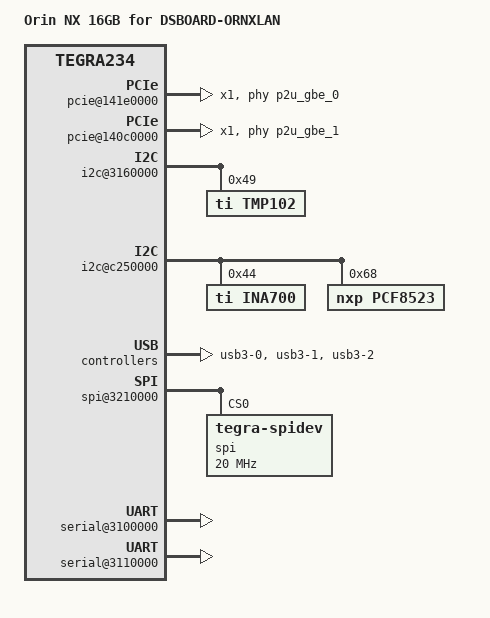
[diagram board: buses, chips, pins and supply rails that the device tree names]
/*
 * Top level DTS file for CVM:P3767-0000 and CVB:DSBOARD-ORNXLAN.
 *
 * Copyright (c) 2021-2022, NVIDIA CORPORATION.  All rights reserved.
 *
 * This program is free software; you can redistribute it and/or modify
 * it under the terms of the GNU General Public License as published by
 * the Free Software Foundation; version 2 of the License.
 *
 * This program is distributed in the hope that it will be useful, but WITHOUT
 * ANY WARRANTY; without even the implied warranty of MERCHANTABILITY or
 * FITNESS FOR A PARTICULAR PURPOSE.  See the GNU General Public License for
 * more details.
 */

/dts-v1/;
#include "tegra234-dcb-p3767-0000-hdmi.dtsi"
#include <tegra234-soc/mods-simple-bus.dtsi>
#include <t234-common-cvm/tegra234-thermal.dtsi>
#include <t234-common-cvm/tegra234-cpuidle.dtsi>
#include <t234-common-cvm/tegra234-thermal-cooling.dtsi>
#include <t234-common-cvm/tegra234-thermal-userspace-alert.dtsi>
#include "cvm/tegra234-p3767-0000.dtsi"
#include "cvb/tegra234-p3768-0000-a0-ornx-imx477.dtsi"

/ {
	nvidia,dtsfilename = __FILE__;
	nvidia,dtbbuildtime = __DATE__, __TIME__;
	compatible = "nvidia,p3768-0000+p3767-0000", "nvidia,tegra234", "nvidia,tegra23x";
	model = "Orin NX 16GB for DSBOARD-ORNXLAN";

	aliases {
		rtc2 = "/i2c@c250000/pcf8523@68";
	};

	fixed-regulators {
		regulator@102 { //p3768_vdd_1v8
			//vin-supply = <&p3768_vdd_3v3_sys>;
			/delete-property/ vin-supply;
		};
	};

	pcie@141e0000 { /* C7x1 node */
		status = "okay";
		num-lanes = <1>;
		phys = <&p2u_gbe_0>;
		phy-names = "p2u-0";
	};

	pcie@140c0000 { /* C9x1 node */
		status = "okay";
		num-lanes = <1>;
		phys = <&p2u_gbe_1>;
		phy-names = "p2u-0";
	};

	i2c@3160000 {
		tmp102: tmp102@49 { // Temperature Sensor - removed since rev-2.0
			compatible = "ti,tmp102";
			reg = <0x49>;
			#thermal-sensor-cells = <0>;
		};
	};

	i2c@c250000 { // using since rev-2.0
		// 0x44 - INA700 Power Monitor
		ina700@44 {
			status = "okay";
			compatible = "ti,ina700";
			reg = <0x44>;
		};

		// 0x68 - PCF8523 RTC
		pcf8523@68 {
			status = "okay";
			compatible = "nxp,pcf8523";
			reg = <0x68>;
		};

		// 0x6B - 2536030320001 6-AXIS IMU & TEMP SENSOR
	};

	xusb_padctl: xusb_padctl@3520000 {
		ports {
			usb3-0 {
				nvidia,usb2-companion = <1>;
				status = "okay";
			};
			usb3-1 {
				//nvidia,usb2-companion = <0>;
				nvidia,usb2-companion = <2>;
				status = "okay";
			};
			usb3-2 {
				nvidia,usb2-companion = <2>; 
				status = "okay";
			};
		};
	};

	xudc@3550000 {
		/delete-property/ charger-detector;
	};

	/delete-node/ usb_cd;

	spi@3210000{ // SPI0 with CS0 on expansion connector
		status = "okay";
		spi@0 {
			status = "okay";
			compatible = "tegra-spidev";
			reg = <0x0>;
			spi-max-frequency = <20000000>;

			controller-data {
				nvidia,enable-hw-based-cs;
				nvidia,rx-clk-tap-delay = <0x10>;
				nvidia,tx-clk-tap-delay = <0x0>;
			};
		};
	};


	serial@3100000 { // UART1 (uarta) RS422
		status = "okay";
	};

	serial@3110000 { // UART0 (uartb) RS232
		status = "okay";
	};

};
